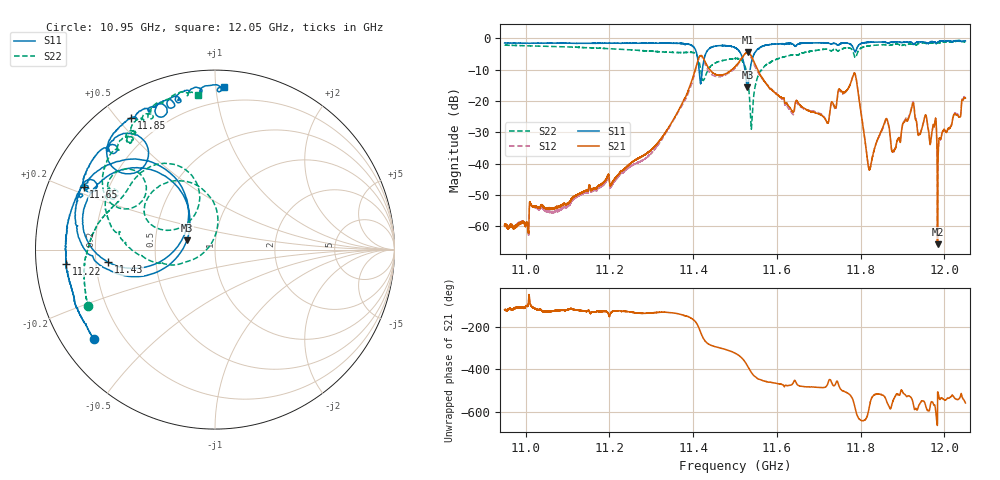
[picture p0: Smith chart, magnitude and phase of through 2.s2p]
!Agilent Technologies,E8362C,MY49020356,A.09.42.23
!Agilent E8362C: A.09.42.23
!Date: Saturday, September 11, 2021 04:05:47
!Correction: S11(Full 2 Port(1,2))
!S21(Full 2 Port(1,2))
!S12(Full 2 Port(1,2))
!S22(Full 2 Port(1,2))
!S2P File: Measurements: S11, S21, S12, S22:
# Hz S  MA  R 50
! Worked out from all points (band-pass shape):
!   32001 points, 10.95 GHz to 12.05 GHz, reference 50 ohm
!   highest |S21| = -4.49 dB at 11.53 GHz (marker M1); lowest = -65.7 dB at 11.98 GHz (marker M2)
!   |S21| within 3 dB of the highest: 11.41045 GHz to 11.4287 GHz (18.25 MHz wide, 0.16 % of centre); 11.51024 GHz to 11.54515 GHz (34.92 MHz wide, 0.303 % of centre)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
!   lowest |S11| = -15.7 dB at 11.53 GHz (marker M3), VSWR 1.39, Z = 36.4 + j3.95 ohm
!   |S11| at or under -10 dB: 11.41421 GHz to 11.42214 GHz (7.937 MHz wide, 0.0695 % of centre); 11.52356 GHz to 11.53603 GHz (12.47 MHz wide, 0.108 % of centre)
!   |S22| runs from -29.0 to -0.9 dB; largest |S21 - S12| = 0.044
!   S11 on the Smith chart (normalised r, x): 10.95 GHz: 0.10, -0.33; 11.22 GHz: 0.09, -0.05; 11.43 GHz: 0.25, -0.05; 11.65 GHz: 0.11, +0.22; 11.85 GHz: 0.09, +0.54; 12.05 GHz: 0.10, +1.06
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1.095e10  0.838 -143.6  0.001039 -117.9  0.001032 -122.3  0.7741 -156.2
1.113336e10  0.8273 -163.5  0.003451 -122.9  0.003264 -125.8  0.7117 -179.4
1.122445e10  0.833 -174.6  0.007041 -123.2  0.006552 -126.7  0.67 168.2
1.131668e10  0.8317 172.2  0.02189 -130.8  0.02006 -127.4  0.6115 155.8
1.140382e10  0.6894 133.1  0.295 -171.0  0.2732 -167.6  0.5819 126.8
1.141815e10  0.19 159.3  0.531 134.2  0.5268 133.2  0.3094 106.0
1.143183e10  0.5995 -173.3  0.3841 87.2  0.3435 86.7  0.276 157.0
1.15e10  0.708 142.8  0.3505 36.6  0.3328 38.3  0.4747 140.0
1.152984e10  0.1643 161.3  0.5952 -24.2  0.589 -25.1  0.2348 88.9
1.153046e10  0.1681 169.3  0.5966 -26.3  0.5879 -27.4  0.219 87.7
1.153984e10  0.4309 -159.8  0.5051 -57.2  0.4663 -58.4  0.04066 170.4
1.1565e10  0.7428 177.9  0.2343 -92.4  0.2264 -87.7  0.321 -166.2
1.165142e10  0.8112 154.5  0.09209 -116.8  0.08644 -112.5  0.5444 169.8
1.168336e10  0.8436 146.7  0.06718 -123.3  0.06909 -119.8  0.6237 163.5
1.178449e10  0.6384 125.6  0.2735 155.7  0.2786 157.9  0.537 136.1
1.182003e10  0.8604 130.6  0.008138 135.6  0.008349 135.5  0.7549 145.5
1.185386e10  0.8686 122.6  0.03946 -163.5  0.03774 -164.5  0.7892 136.3
1.186668e10  0.846 121.2  0.04234 147.7  0.0403 149.1  0.7688 134.2
1.187922e10  0.8745 119.3  0.01602 179.7  0.01569 -177.1  0.7989 132.3
1.19236e10  0.8378 108.9  0.08787 172.4  0.09238 171.9  0.8018 124.3
1.198345e10  0.861 104.8  0.0005198 116.2  0.0004857 116.6  0.8433 115.8
1.205e10  0.9069 86.6  0.1103 160.8  0.1144 158.5  0.8625 95.9
